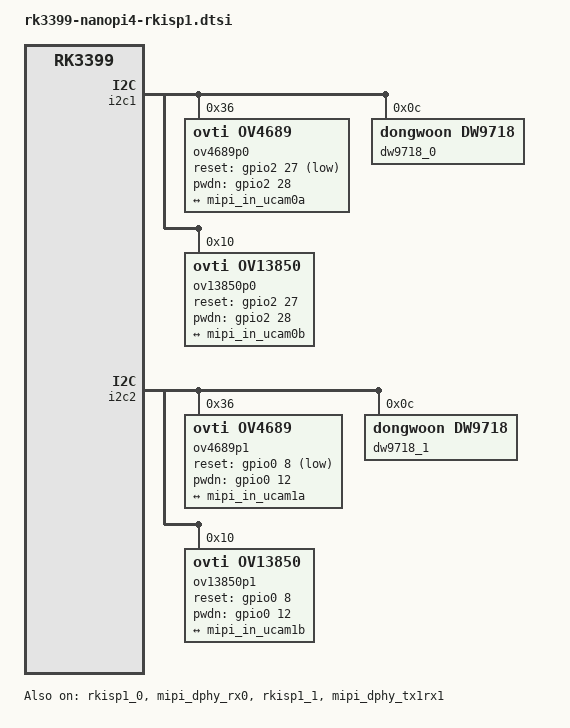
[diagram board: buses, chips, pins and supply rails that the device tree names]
// SPDX-License-Identifier: (GPL-2.0+ OR MIT)
/*
 * Copyright (c) 2019 FriendlyElec Computer Tech. Co., Ltd.
 * (http://www.friendlyarm.com)
 */

&i2c1 {
	ov4689p0: ov4689@36 {
		compatible = "ovti,ov4689";
		status = "okay";
		reg = <0x36>;
		clocks = <&cru SCLK_CIF_OUT>;
		clock-names = "xvclk";

		reset-gpios = <&gpio2 27 GPIO_ACTIVE_LOW>;
		pwdn-gpios = <&gpio2 28 GPIO_ACTIVE_HIGH>;
		pinctrl-names = "rockchip,camera_default", "rockchip,camera_sleep";
		pinctrl-0 = <&cam0_default_pins &cif_clkout_a>;
		pinctrl-1 = <&cam0_default_pins>;

		rockchip,camera-module-index = <0>;
		rockchip,camera-module-facing = "back";
		rockchip,camera-module-name = "JSD3425-C1";
		rockchip,camera-module-lens-name = "JSD3425-C1";

		port {
			ucam_out0a: endpoint {
				remote-endpoint = <&mipi_in_ucam0a>;
				data-lanes = <1 2>;
			};
		};
	};

	dw9718_0: dw9718@c {
		compatible = "dongwoon,dw9718";
		reg = <0x0c>;
		rockchip,camera-module-index = <0>;
		rockchip,camera-module-facing = "back";
		status = "okay";
	};

	ov13850p0: ov13850@10 {
		compatible = "ovti,ov13850";
		status = "okay";
		reg = <0x10>;
		clocks = <&cru SCLK_CIF_OUT>;
		clock-names = "xvclk";

		reset-gpios = <&gpio2 27 GPIO_ACTIVE_HIGH>;
		pwdn-gpios = <&gpio2 28 GPIO_ACTIVE_HIGH>;
		pinctrl-names = "rockchip,camera_default", "rockchip,camera_sleep";
		pinctrl-0 = <&cam0_default_pins &cif_clkout_a>;
		pinctrl-1 = <&cam0_default_pins>;

		rockchip,camera-module-index = <0>;
		rockchip,camera-module-facing = "back";
		rockchip,camera-module-name = "CMK-CT0116";
		rockchip,camera-module-lens-name = "Largan-50013A1";
		lens-focus = <&dw9718_0>;

		port {
			ucam_out0b: endpoint {
				remote-endpoint = <&mipi_in_ucam0b>;
				data-lanes = <1 2>;
			};
		};
	};

	tc358749x: tc358749x@f {
		compatible = "toshiba,tc358749";
		reg = <0x0f>;
		clocks = <&clkin_cam27m>;
		clock-names = "refclk";
		power33-gpios = <&gpio1 0 GPIO_ACTIVE_HIGH>;
		stanby-gpios = <&gpio2 6 GPIO_ACTIVE_HIGH>;
		reset-gpios = <&gpio2 5 GPIO_ACTIVE_LOW>;
		int-gpios = <&gpio0 2 GPIO_ACTIVE_HIGH>;
		interrupt-parent = <&gpio0>;
		interrupts = <2 IRQ_TYPE_LEVEL_LOW>;
		pinctrl-names = "default";
		pinctrl-0 = <&hdmiin_gpios>;
		status = "disabled";

		port {
			hdmiin_out0: endpoint {
				remote-endpoint = <&mipi_in_ucam0c>;
				data-lanes = <1 2 3 4>;
				clock-noncontinuous;
				link-frequencies = /bits/ 64 <297000000>;
			};
		};
	};
};

&rkisp1_0 {
	status = "okay";

	port {
		#address-cells = <1>;
		#size-cells = <0>;

		isp0_mipi_in: endpoint@0 {
			reg = <0>;
			remote-endpoint = <&dphy_rx0_out>;
		};
	};
};

&isp0_mmu {
	status = "okay";
};

&mipi_dphy_rx0 {
	status = "okay";

	ports {
		#address-cells = <1>;
		#size-cells = <0>;

		port@0 {
			reg = <0>;
			#address-cells = <1>;
			#size-cells = <0>;

			mipi_in_ucam0a: endpoint@0 {
				reg = <0>;
				remote-endpoint = <&ucam_out0a>;
				data-lanes = <1 2>;
			};

			mipi_in_ucam0b: endpoint@1 {
				reg = <1>;
				remote-endpoint = <&ucam_out0b>;
				data-lanes = <1 2>;
			};

			mipi_in_ucam0c: endpoint@2 {
				reg = <2>;
				remote-endpoint = <&hdmiin_out0>;
				data-lanes = <1 2 3 4>;
				status = "disabled";
			};
		};

		port@1 {
			reg = <1>;
			#address-cells = <1>;
			#size-cells = <0>;

			dphy_rx0_out: endpoint@0 {
				reg = <0>;
				remote-endpoint = <&isp0_mipi_in>;
			};
		};
	};
};

&i2c2 {
	ov4689p1: ov4689@36 {
		compatible = "ovti,ov4689";
		status = "okay";
		reg = <0x36>;
		clocks = <&cru SCLK_CIF_OUT>;
		clock-names = "xvclk";

		reset-gpios = <&gpio0 8 GPIO_ACTIVE_LOW>;
		pwdn-gpios = <&gpio0 12 GPIO_ACTIVE_HIGH>;
		pinctrl-names = "rockchip,camera_default", "rockchip,camera_sleep";
		pinctrl-0 = <&cam1_default_pins &cif_clkout_a>;
		pinctrl-1 = <&cam1_default_pins>;

		rockchip,camera-module-index = <1>;
		rockchip,camera-module-facing = "front";
		rockchip,camera-module-name = "JSD3425-C1";
		rockchip,camera-module-lens-name = "JSD3425-C1";

		port {
			ucam_out1a: endpoint {
				remote-endpoint = <&mipi_in_ucam1a>;
				data-lanes = <1 2>;
			};
		};
	};

	dw9718_1: dw9718@c {
		compatible = "dongwoon,dw9718";
		reg = <0x0c>;
		rockchip,camera-module-index = <1>;
		rockchip,camera-module-facing = "front";
		status = "okay";
	};

	ov13850p1: ov13850@10 {
		compatible = "ovti,ov13850";
		status = "okay";
		reg = <0x10>;
		clocks = <&cru SCLK_CIF_OUT>;
		clock-names = "xvclk";

		reset-gpios = <&gpio0 8 GPIO_ACTIVE_HIGH>;
		pwdn-gpios = <&gpio0 12 GPIO_ACTIVE_HIGH>;
		pinctrl-names = "rockchip,camera_default", "rockchip,camera_sleep";
		pinctrl-0 = <&cam1_default_pins &cif_clkout_a>;
		pinctrl-1 = <&cam1_default_pins>;

		rockchip,camera-module-index = <1>;
		rockchip,camera-module-facing = "front";
		rockchip,camera-module-name = "CMK-CT0116";
		rockchip,camera-module-lens-name = "Largan-50013A1";
		lens-focus = <&dw9718_1>;

		port {
			ucam_out1b: endpoint {
				remote-endpoint = <&mipi_in_ucam1b>;
				data-lanes = <1 2>;
			};
		};
	};
};

&rkisp1_1 {
	status = "okay";

	port {
		#address-cells = <1>;
		#size-cells = <0>;

		isp1_mipi_in: endpoint@0 {
			reg = <0>;
			remote-endpoint = <&dphy_tx1rx1_out>;
		};
	};
};

&isp1_mmu {
	status = "okay";
};

&mipi_dphy_tx1rx1 {
	status = "okay";

	ports {
		#address-cells = <1>;
		#size-cells = <0>;

		port@0 {
			reg = <0>;
			#address-cells = <1>;
			#size-cells = <0>;

			mipi_in_ucam1a: endpoint@0 {
				reg = <0>;
				remote-endpoint = <&ucam_out1a>;
				data-lanes = <1 2>;
			};

			mipi_in_ucam1b: endpoint@1 {
				reg = <1>;
				remote-endpoint = <&ucam_out1b>;
				data-lanes = <1 2>;
			};
		};

		port@1 {
			reg = <1>;
			#address-cells = <1>;
			#size-cells = <0>;

			dphy_tx1rx1_out: endpoint@0 {
				reg = <0>;
				remote-endpoint = <&isp1_mipi_in>;
			};
		};
	};
};

&pinctrl {
	cam_pins {
		cif_clkout_a: cif-clkout-a {
			rockchip,pins = <2 11 3 &pcfg_pull_none>;
		};

		cif_clkout_a_sleep: cif-clkout-a-sleep {
			rockchip,pins = <2 11 RK_FUNC_GPIO &pcfg_pull_none>;
		};

		cam0_default_pins: cam0-default-pins {
			rockchip,pins =
				<2 28 RK_FUNC_GPIO &pcfg_pull_down>,
				<2 27 RK_FUNC_GPIO &pcfg_pull_none>;
		};

		cam1_default_pins: cam1-default-pins {
			rockchip,pins =
				<0 12 RK_FUNC_GPIO &pcfg_pull_down>,
				<0  8 RK_FUNC_GPIO &pcfg_pull_none>;
		};
	};

	hdmiin {
		hdmiin_gpios: hdmiin-gpios {
			rockchip,pins =
				<1 0 RK_FUNC_GPIO &pcfg_output_high>,
				<2 6 RK_FUNC_GPIO &pcfg_output_high>,
				<2 5 RK_FUNC_GPIO &pcfg_pull_none>,
				<0 2 RK_FUNC_GPIO &pcfg_pull_none>;
		};
	};
};
